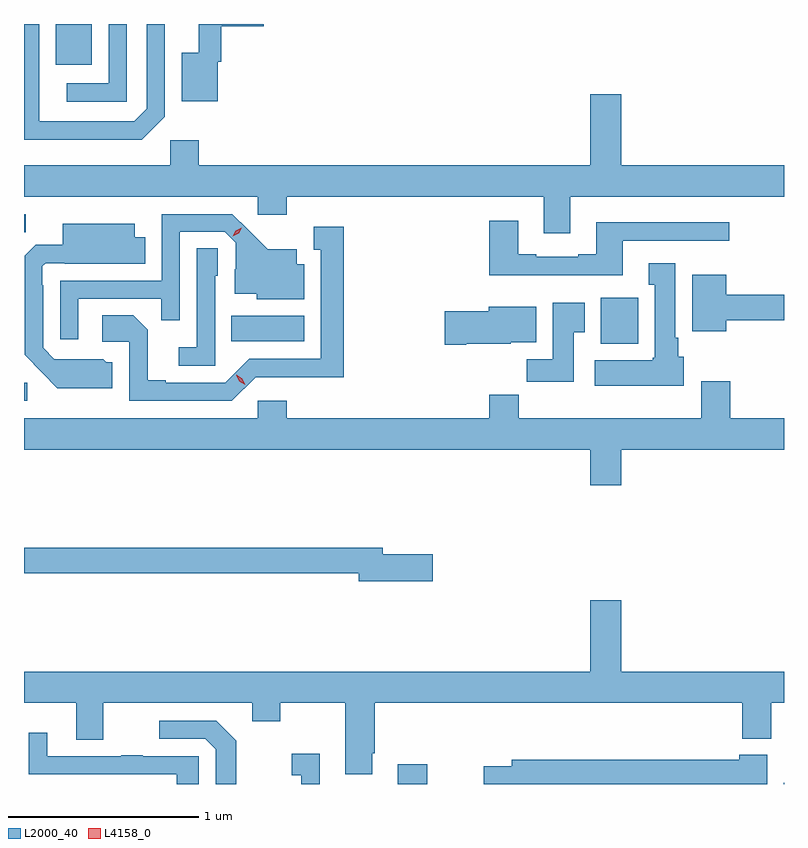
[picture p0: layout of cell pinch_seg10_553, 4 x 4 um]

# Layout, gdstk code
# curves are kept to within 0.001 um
import gdstk
lib = gdstk.Library(unit=1e-6, precision=1e-09)
def R(c, l, rs):  # rectangles x0, y0, x1, y1
    for r in rs: c.add(gdstk.rectangle(r[:2], r[2:], *l))
def P(c, l, *ps):  # polygons
    for p in ps: c.add(gdstk.Polygon(p, *l))
L2000_40 = (2000, 40)
L4158_0 = (4158, 0)

pinch_seg10_553 = lib.new_cell('pinch_seg10_553')
R(pinch_seg10_553, L2000_40, [(379.781,1281.24,379.936,1281.343), (381.812,1281.24,381.813,1281.247), (377.813,1283.256,377.83,1283.352), (380.849,1283.558,381.046,1283.8), (378.904,1283.57,379.288,1283.704), (377.813,1284.145,377.823,1284.24), (377.981,1285.025,378.169,1285.24)])
P(pinch_seg10_553, L2000_40, [(378.354,1285.24),(378.258,1285.24),(378.258,1284.927),(378.039,1284.927),(378.039,1284.831),(378.354,1284.831)],
  [(378.555,1284.753),(378.555,1285.24),(378.459,1285.24),(378.459,1284.795),(378.393,1284.729),(377.893,1284.729),(377.893,1284.929),(377.892,1284.929),(377.892,1285.24),(377.813,1285.24),(377.813,1284.632),(378.434,1284.632)],
  [(378.832,1285.041),(378.851,1285.041),(378.851,1285.229),(379.075,1285.229),(379.075,1285.24),(378.734,1285.24),(378.734,1285.09),(378.644,1285.09),(378.644,1284.833),(378.832,1284.833)],
  [(380.689,1284.332),(381.813,1284.332),(381.813,1284.496),(380.956,1284.496),(380.956,1284.871),(380.792,1284.871),(380.792,1284.496),(378.734,1284.496),(378.734,1284.628),(378.582,1284.628),(378.582,1284.496),(377.813,1284.496),(377.813,1284.332),(379.044,1284.332),(379.044,1284.237),(379.196,1284.237),(379.196,1284.332),(380.549,1284.332),(380.549,1284.138),(380.689,1284.138)],
  [(378.099,1283.793),(378.535,1283.793),(378.535,1283.68),(378.633,1283.68),(378.633,1284.147),(378.87,1284.147),(378.927,1284.09),(378.927,1283.948),(378.923,1283.948),(378.923,1283.819),(379.038,1283.819),(379.038,1283.792),(379.288,1283.792),(379.288,1283.976),(379.249,1283.976),(379.249,1284.055),(379.097,1284.055),(378.91,1284.24),(378.537,1284.24),(378.537,1283.889),(378.003,1283.889),(378.003,1283.58),(378.099,1283.58)],
  [(380.965,1284.099),(381.526,1284.099),(381.526,1284.196),(380.825,1284.196),(380.825,1284.028),(380.729,1284.028),(380.729,1284.015),(380.509,1284.015),(380.509,1284.028),(380.413,1284.028),(380.413,1284.205),(380.261,1284.205),(380.261,1283.918),(380.965,1283.918)],
  [(378.277,1283.46),(378.246,1283.46),(378.23,1283.476),(377.973,1283.475),(377.913,1283.535),(377.913,1283.864),(377.91,1283.864),(377.91,1283.964),(377.928,1283.982),(378.028,1283.982),(378.028,1283.978),(378.452,1283.978),(378.452,1284.118),(378.397,1284.118),(378.397,1284.19),(378.017,1284.19),(378.017,1284.079),(377.876,1284.079),(377.817,1284.02),(377.817,1283.498),(377.989,1283.324),(378.277,1283.324)],
  [(379.032,1283.382),(379.495,1283.381),(379.495,1284.172),(379.337,1284.172),(379.337,1284.051),(379.376,1284.051),(379.376,1283.478),(378.999,1283.478),(378.873,1283.352),(378.559,1283.352),(378.559,1283.365),(378.465,1283.365),(378.465,1283.632),(378.389,1283.708),(378.225,1283.708),(378.225,1283.568),(378.366,1283.568),(378.366,1283.256),(378.906,1283.256)],
  [(378.819,1283.916),(378.834,1283.916),(378.834,1284.059),(378.723,1284.059),(378.723,1283.539),(378.627,1283.539),(378.627,1283.442),(378.819,1283.442)],
  [(381.286,1283.49),(381.256,1283.49),(381.256,1283.59),(381.241,1283.59),(381.241,1283.98),(381.101,1283.98),(381.101,1283.867),(381.134,1283.867),(381.134,1283.484),(381.121,1283.484),(381.121,1283.47),(380.817,1283.47),(380.817,1283.336),(381.286,1283.336)],
  [(381.508,1283.68),(381.813,1283.68),(381.813,1283.816),(381.508,1283.816),(381.508,1283.92),(381.329,1283.92),(381.329,1283.624),(381.508,1283.624)],
  [(380.707,1283.617),(380.764,1283.617),(380.764,1283.773),(380.597,1283.773),(380.597,1283.476),(380.458,1283.476),(380.458,1283.358),(380.707,1283.358)],
  [(380.14,1283.558),(380.376,1283.558),(380.376,1283.564),(380.509,1283.564),(380.509,1283.752),(380.258,1283.752),(380.258,1283.729),(380.028,1283.729),(380.028,1283.551),(380.14,1283.551)],
  [(380.956,1283),(381.813,1283),(381.813,1283.164),(381.53,1283.164),(381.53,1283.359),(381.377,1283.359),(381.377,1283.164),(380.417,1283.164),(380.417,1283.288),(380.261,1283.288),(380.261,1283.164),(379.196,1283.164),(379.196,1283.257),(379.044,1283.257),(379.044,1283.164),(377.813,1283.164),(377.813,1283),(380.792,1283),(380.792,1282.812),(380.956,1282.812)],
  [(379.963,1282.448),(379.702,1282.448),(379.702,1282.484),(377.813,1282.484),(377.813,1282.348),(379.574,1282.348),(379.574,1282.306),(379.963,1282.306)],
  [(379.645,1281.403),(379.658,1281.403),(379.658,1281.668),(381.593,1281.668),(381.593,1281.479),(381.745,1281.479),(381.745,1281.668),(381.813,1281.668),(381.813,1281.832),(380.956,1281.832),(380.956,1282.207),(380.792,1282.207),(380.792,1281.832),(377.813,1281.832),(377.813,1281.668),(378.089,1281.668),(378.089,1281.474),(378.229,1281.474),(378.229,1281.668),(379.013,1281.668),(379.013,1281.569),(379.161,1281.569),(379.161,1281.668),(379.505,1281.668),(379.505,1281.291),(379.645,1281.291)],
  [(378.931,1281.467),(378.825,1281.573),(378.525,1281.573),(378.525,1281.477),(378.768,1281.477),(378.822,1281.423),(378.822,1281.24),(378.931,1281.24)],
  [(378.732,1281.387),(378.437,1281.387),(378.437,1281.392),(378.325,1281.392),(378.325,1281.387),(377.935,1281.387),(377.935,1281.511),(377.839,1281.511),(377.839,1281.292),(377.941,1281.292),(377.941,1281.291),(378.616,1281.291),(378.616,1281.24),(378.732,1281.24)],
  [(379.369,1281.4),(379.221,1281.4),(379.221,1281.287),(379.272,1281.287),(379.272,1281.24),(379.369,1281.24)],
  [(381.724,1281.394),(381.578,1281.394),(381.578,1281.367),(380.381,1281.367),(380.381,1281.333),(380.232,1281.333),(380.232,1281.24),(381.724,1281.24)])
P(pinch_seg10_553, L4158_0, [(378.978,1283.342),(378.946,1283.361),(378.929,1283.394),(378.929,1283.394),(378.929,1283.394),(378.96,1283.375),(378.978,1283.342),(378.978,1283.342)],
  [(378.912,1284.122),(378.912,1284.122),(378.928,1284.152),(378.959,1284.168),(378.959,1284.168),(378.959,1284.168),(378.942,1284.138),(378.912,1284.122)])

lib.write_gds('pinch_seg10_553.gds')
